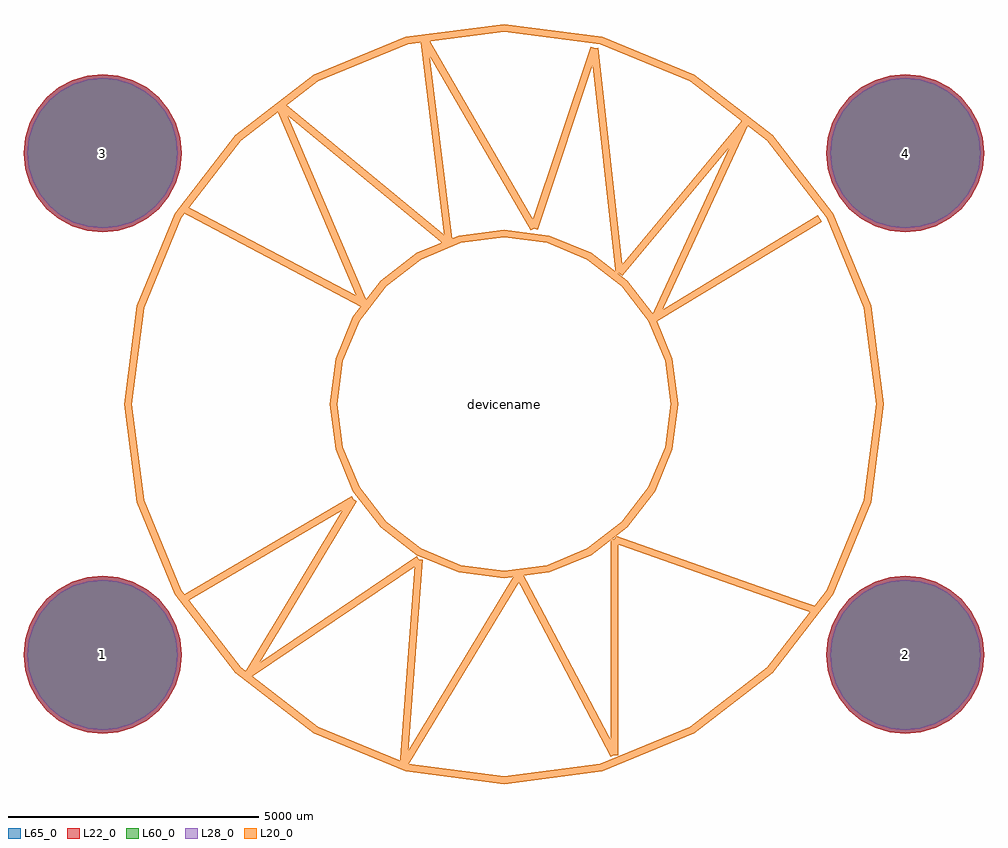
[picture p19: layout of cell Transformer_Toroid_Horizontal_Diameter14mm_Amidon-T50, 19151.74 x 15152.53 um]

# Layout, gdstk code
import gdstk
lib = gdstk.Library(unit=1e-6, precision=1e-09)
def P(c, l, *ps):  # polygons
    for p in ps: c.add(gdstk.Polygon(p, *l))
L20_0 = (20, 0)
L22_0 = (22, 0)
L28_0 = (28, 0)
L60_0 = (60, 0)
L65_0 = (65, 0)

transformer_toroid_horiz = lib.new_cell('Transformer_Toroid_Horizontal_Diameter14mm_Amidon-T50')
P(transformer_toroid_horiz, L22_0, [(9575.87,5001.26),(9545.609,5308.502),(9455.99,5603.937),(9310.457,5876.211),(9114.601,6114.861),(8875.951,6310.717),(8603.677,6456.25),(8308.242,6545.869),(8001,6576.13),(7693.758,6545.869),(7398.323,6456.25),(7126.049,6310.717),(6887.399,6114.861),(6691.543,5876.211),(6546.01,5603.937),(6456.391,5308.502),(6426.13,5001.26),(6456.391,4694.018),(6546.01,4398.583),(6691.543,4126.309),(6887.399,3887.659),(7126.049,3691.803),(7398.323,3546.27),(7693.758,3456.651),(8001,3426.39),(8308.242,3456.651),(8603.677,3546.27),(8875.951,3691.803),(9114.601,3887.659),(9310.457,4126.309),(9455.99,4398.583),(9545.609,4694.018)],
  [(-6426.13,5001.26),(-6456.391,5308.502),(-6546.01,5603.937),(-6691.543,5876.211),(-6887.399,6114.861),(-7126.049,6310.717),(-7398.323,6456.25),(-7693.758,6545.869),(-8001,6576.13),(-8308.242,6545.869),(-8603.677,6456.25),(-8875.951,6310.717),(-9114.601,6114.861),(-9310.457,5876.211),(-9455.99,5603.937),(-9545.609,5308.502),(-9575.87,5001.26),(-9545.609,4694.018),(-9455.99,4398.583),(-9310.457,4126.309),(-9114.601,3887.659),(-8875.951,3691.803),(-8603.677,3546.27),(-8308.242,3456.651),(-8001,3426.39),(-7693.758,3456.651),(-7398.323,3546.27),(-7126.049,3691.803),(-6887.399,3887.659),(-6691.543,4126.309),(-6546.01,4398.583),(-6456.391,4694.018)],
  [(9575.87,-5001.26),(9545.609,-4694.018),(9455.99,-4398.583),(9310.457,-4126.309),(9114.601,-3887.659),(8875.951,-3691.803),(8603.677,-3546.27),(8308.242,-3456.651),(8001,-3426.39),(7693.758,-3456.651),(7398.323,-3546.27),(7126.049,-3691.803),(6887.399,-3887.659),(6691.543,-4126.309),(6546.01,-4398.583),(6456.391,-4694.018),(6426.13,-5001.26),(6456.391,-5308.502),(6546.01,-5603.937),(6691.543,-5876.211),(6887.399,-6114.861),(7126.049,-6310.717),(7398.323,-6456.25),(7693.758,-6545.869),(8001,-6576.13),(8308.242,-6545.869),(8603.677,-6456.25),(8875.951,-6310.717),(9114.601,-6114.861),(9310.457,-5876.211),(9455.99,-5603.937),(9545.609,-5308.502)],
  [(-6426.13,-5001.26),(-6456.391,-4694.018),(-6546.01,-4398.583),(-6691.543,-4126.309),(-6887.399,-3887.659),(-7126.049,-3691.803),(-7398.323,-3546.27),(-7693.758,-3456.651),(-8001,-3426.39),(-8308.242,-3456.651),(-8603.677,-3546.27),(-8875.951,-3691.803),(-9114.601,-3887.659),(-9310.457,-4126.309),(-9455.99,-4398.583),(-9545.609,-4694.018),(-9575.87,-5001.26),(-9545.609,-5308.502),(-9455.99,-5603.937),(-9310.457,-5876.211),(-9114.601,-6114.861),(-8875.951,-6310.717),(-8603.677,-6456.25),(-8308.242,-6545.869),(-8001,-6576.13),(-7693.758,-6545.869),(-7398.323,-6456.25),(-7126.049,-6310.717),(-6887.399,-6114.861),(-6691.543,-5876.211),(-6546.01,-5603.937),(-6456.391,-5308.502)])
P(transformer_toroid_horiz, L28_0, [(9500.87,5001.26),(9472.05,5293.87),(9386.699,5575.235),(9248.096,5834.543),(9061.568,6061.828),(8834.283,6248.356),(8574.975,6386.959),(8293.61,6472.31),(8001,6501.13),(7708.39,6472.31),(7427.025,6386.959),(7167.717,6248.356),(6940.432,6061.828),(6753.904,5834.543),(6615.301,5575.235),(6529.95,5293.87),(6501.13,5001.26),(6529.95,4708.65),(6615.301,4427.285),(6753.904,4167.977),(6940.432,3940.692),(7167.717,3754.164),(7427.025,3615.561),(7708.39,3530.21),(8001,3501.39),(8293.61,3530.21),(8574.975,3615.561),(8834.283,3754.164),(9061.568,3940.692),(9248.096,4167.977),(9386.699,4427.285),(9472.05,4708.65)],
  [(-6501.13,5001.26),(-6529.95,5293.87),(-6615.301,5575.235),(-6753.904,5834.543),(-6940.432,6061.828),(-7167.717,6248.356),(-7427.025,6386.959),(-7708.39,6472.31),(-8001,6501.13),(-8293.61,6472.31),(-8574.975,6386.959),(-8834.283,6248.356),(-9061.568,6061.828),(-9248.096,5834.543),(-9386.699,5575.235),(-9472.05,5293.87),(-9500.87,5001.26),(-9472.05,4708.65),(-9386.699,4427.285),(-9248.096,4167.977),(-9061.568,3940.692),(-8834.283,3754.164),(-8574.975,3615.561),(-8293.61,3530.21),(-8001,3501.39),(-7708.39,3530.21),(-7427.025,3615.561),(-7167.717,3754.164),(-6940.432,3940.692),(-6753.904,4167.977),(-6615.301,4427.285),(-6529.95,4708.65)],
  [(9500.87,-5001.26),(9472.05,-4708.65),(9386.699,-4427.285),(9248.096,-4167.977),(9061.568,-3940.692),(8834.283,-3754.164),(8574.975,-3615.561),(8293.61,-3530.21),(8001,-3501.39),(7708.39,-3530.21),(7427.025,-3615.561),(7167.717,-3754.164),(6940.432,-3940.692),(6753.904,-4167.977),(6615.301,-4427.285),(6529.95,-4708.65),(6501.13,-5001.26),(6529.95,-5293.87),(6615.301,-5575.235),(6753.904,-5834.543),(6940.432,-6061.828),(7167.717,-6248.356),(7427.025,-6386.959),(7708.39,-6472.31),(8001,-6501.13),(8293.61,-6472.31),(8574.975,-6386.959),(8834.283,-6248.356),(9061.568,-6061.828),(9248.096,-5834.543),(9386.699,-5575.235),(9472.05,-5293.87)],
  [(-6501.13,-5001.26),(-6529.95,-4708.65),(-6615.301,-4427.285),(-6753.904,-4167.977),(-6940.432,-3940.692),(-7167.717,-3754.164),(-7427.025,-3615.561),(-7708.39,-3530.21),(-8001,-3501.39),(-8293.61,-3530.21),(-8574.975,-3615.561),(-8834.283,-3754.164),(-9061.568,-3940.692),(-9248.096,-4167.977),(-9386.699,-4427.285),(-9472.05,-4708.65),(-9500.87,-5001.26),(-9472.05,-5293.87),(-9386.699,-5575.235),(-9248.096,-5834.543),(-9061.568,-6061.828),(-8834.283,-6248.356),(-8574.975,-6386.959),(-8293.61,-6472.31),(-8001,-6501.13),(-7708.39,-6472.31),(-7427.025,-6386.959),(-7167.717,-6248.356),(-6940.432,-6061.828),(-6753.904,-5834.543),(-6615.301,-5575.235),(-6529.95,-5293.87)])
P(transformer_toroid_horiz, L60_0, [(9500.87,5001.26),(9472.05,5293.87),(9386.699,5575.235),(9248.096,5834.543),(9061.568,6061.828),(8834.283,6248.356),(8574.975,6386.959),(8293.61,6472.31),(8001,6501.13),(7708.39,6472.31),(7427.025,6386.959),(7167.717,6248.356),(6940.432,6061.828),(6753.904,5834.543),(6615.301,5575.235),(6529.95,5293.87),(6501.13,5001.26),(6529.95,4708.65),(6615.301,4427.285),(6753.904,4167.977),(6940.432,3940.692),(7167.717,3754.164),(7427.025,3615.561),(7708.39,3530.21),(8001,3501.39),(8293.61,3530.21),(8574.975,3615.561),(8834.283,3754.164),(9061.568,3940.692),(9248.096,4167.977),(9386.699,4427.285),(9472.05,4708.65)],
  [(-6501.13,5001.26),(-6529.95,5293.87),(-6615.301,5575.235),(-6753.904,5834.543),(-6940.432,6061.828),(-7167.717,6248.356),(-7427.025,6386.959),(-7708.39,6472.31),(-8001,6501.13),(-8293.61,6472.31),(-8574.975,6386.959),(-8834.283,6248.356),(-9061.568,6061.828),(-9248.096,5834.543),(-9386.699,5575.235),(-9472.05,5293.87),(-9500.87,5001.26),(-9472.05,4708.65),(-9386.699,4427.285),(-9248.096,4167.977),(-9061.568,3940.692),(-8834.283,3754.164),(-8574.975,3615.561),(-8293.61,3530.21),(-8001,3501.39),(-7708.39,3530.21),(-7427.025,3615.561),(-7167.717,3754.164),(-6940.432,3940.692),(-6753.904,4167.977),(-6615.301,4427.285),(-6529.95,4708.65)],
  [(9500.87,-5001.26),(9472.05,-4708.65),(9386.699,-4427.285),(9248.096,-4167.977),(9061.568,-3940.692),(8834.283,-3754.164),(8574.975,-3615.561),(8293.61,-3530.21),(8001,-3501.39),(7708.39,-3530.21),(7427.025,-3615.561),(7167.717,-3754.164),(6940.432,-3940.692),(6753.904,-4167.977),(6615.301,-4427.285),(6529.95,-4708.65),(6501.13,-5001.26),(6529.95,-5293.87),(6615.301,-5575.235),(6753.904,-5834.543),(6940.432,-6061.828),(7167.717,-6248.356),(7427.025,-6386.959),(7708.39,-6472.31),(8001,-6501.13),(8293.61,-6472.31),(8574.975,-6386.959),(8834.283,-6248.356),(9061.568,-6061.828),(9248.096,-5834.543),(9386.699,-5575.235),(9472.05,-5293.87)],
  [(-6501.13,-5001.26),(-6529.95,-4708.65),(-6615.301,-4427.285),(-6753.904,-4167.977),(-6940.432,-3940.692),(-7167.717,-3754.164),(-7427.025,-3615.561),(-7708.39,-3530.21),(-8001,-3501.39),(-8293.61,-3530.21),(-8574.975,-3615.561),(-8834.283,-3754.164),(-9061.568,-3940.692),(-9248.096,-4167.977),(-9386.699,-4427.285),(-9472.05,-4708.65),(-9500.87,-5001.26),(-9472.05,-5293.87),(-9386.699,-5575.235),(-9248.096,-5834.543),(-9061.568,-6061.828),(-8834.283,-6248.356),(-8574.975,-6386.959),(-8293.61,-6472.31),(-8001,-6501.13),(-7708.39,-6472.31),(-7427.025,-6386.959),(-7167.717,-6248.356),(-6940.432,-6061.828),(-6753.904,-5834.543),(-6615.301,-5575.235),(-6529.95,-5293.87)])
P(transformer_toroid_horiz, L65_0, [(9575.87,5001.26),(9545.609,5308.502),(9455.99,5603.937),(9310.457,5876.211),(9114.601,6114.861),(8875.951,6310.717),(8603.677,6456.25),(8308.242,6545.869),(8001,6576.13),(7693.758,6545.869),(7398.323,6456.25),(7126.049,6310.717),(6887.399,6114.861),(6691.543,5876.211),(6546.01,5603.937),(6456.391,5308.502),(6426.13,5001.26),(6456.391,4694.018),(6546.01,4398.583),(6691.543,4126.309),(6887.399,3887.659),(7126.049,3691.803),(7398.323,3546.27),(7693.758,3456.651),(8001,3426.39),(8308.242,3456.651),(8603.677,3546.27),(8875.951,3691.803),(9114.601,3887.659),(9310.457,4126.309),(9455.99,4398.583),(9545.609,4694.018)],
  [(-6426.13,5001.26),(-6456.391,5308.502),(-6546.01,5603.937),(-6691.543,5876.211),(-6887.399,6114.861),(-7126.049,6310.717),(-7398.323,6456.25),(-7693.758,6545.869),(-8001,6576.13),(-8308.242,6545.869),(-8603.677,6456.25),(-8875.951,6310.717),(-9114.601,6114.861),(-9310.457,5876.211),(-9455.99,5603.937),(-9545.609,5308.502),(-9575.87,5001.26),(-9545.609,4694.018),(-9455.99,4398.583),(-9310.457,4126.309),(-9114.601,3887.659),(-8875.951,3691.803),(-8603.677,3546.27),(-8308.242,3456.651),(-8001,3426.39),(-7693.758,3456.651),(-7398.323,3546.27),(-7126.049,3691.803),(-6887.399,3887.659),(-6691.543,4126.309),(-6546.01,4398.583),(-6456.391,4694.018)],
  [(9575.87,-5001.26),(9545.609,-4694.018),(9455.99,-4398.583),(9310.457,-4126.309),(9114.601,-3887.659),(8875.951,-3691.803),(8603.677,-3546.27),(8308.242,-3456.651),(8001,-3426.39),(7693.758,-3456.651),(7398.323,-3546.27),(7126.049,-3691.803),(6887.399,-3887.659),(6691.543,-4126.309),(6546.01,-4398.583),(6456.391,-4694.018),(6426.13,-5001.26),(6456.391,-5308.502),(6546.01,-5603.937),(6691.543,-5876.211),(6887.399,-6114.861),(7126.049,-6310.717),(7398.323,-6456.25),(7693.758,-6545.869),(8001,-6576.13),(8308.242,-6545.869),(8603.677,-6456.25),(8875.951,-6310.717),(9114.601,-6114.861),(9310.457,-5876.211),(9455.99,-5603.937),(9545.609,-5308.502)],
  [(-6426.13,-5001.26),(-6456.391,-4694.018),(-6546.01,-4398.583),(-6691.543,-4126.309),(-6887.399,-3887.659),(-7126.049,-3691.803),(-7398.323,-3546.27),(-7693.758,-3456.651),(-8001,-3426.39),(-8308.242,-3456.651),(-8603.677,-3546.27),(-8875.951,-3691.803),(-9114.601,-3887.659),(-9310.457,-4126.309),(-9455.99,-4398.583),(-9545.609,-4694.018),(-9575.87,-5001.26),(-9545.609,-5308.502),(-9455.99,-5603.937),(-9310.457,-5876.211),(-9114.601,-6114.861),(-8875.951,-6310.717),(-8603.677,-6456.25),(-8308.242,-6545.869),(-8001,-6576.13),(-7693.758,-6545.869),(-7398.323,-6456.25),(-7126.049,-6310.717),(-6887.399,-6114.861),(-6691.543,-5876.211),(-6546.01,-5603.937),(-6456.391,-5308.502)])
transformer_toroid_horiz.add(gdstk.FlexPath([(7500.62,0),(7245.043,1941.303),(6495.727,3750.31),(5303.739,5303.739),(3750.31,6495.727),(1941.303,7245.043),(0,7500.62),(-1941.303,7245.043),(-3750.31,6495.727),(-5303.739,5303.739),(-6495.727,3750.31),(-7245.043,1941.303),(-7500.62,0),(-7245.043,-1941.303),(-6495.727,-3750.31),(-5303.739,-5303.739),(-3750.31,-6495.727),(-1941.303,-7245.043),(0,-7500.62),(1941.303,-7245.043),(3750.31,-6495.727),(5303.739,-5303.739),(6495.727,-3750.31),(7245.043,-1941.303),(7500.62,0)], 149.998, ends="flush", simple_path=True, layer=20, datatype=0))  # L20_0
transformer_toroid_horiz.add(gdstk.FlexPath([(3401.06,0),(3285.172,880.259),(2945.404,1700.53),(2404.913,2404.913),(1700.53,2945.404),(880.259,3285.172),(0,3401.06),(-880.259,3285.172),(-1700.53,2945.404),(-2404.913,2404.913),(-2945.404,1700.53),(-3285.172,880.259),(-3401.06,0),(-3285.172,-880.259),(-2945.404,-1700.53),(-2404.913,-2404.913),(-1700.53,-2945.404),(-880.259,-3285.172),(0,-3401.06),(880.259,-3285.172),(1700.53,-2945.404),(2404.913,-2404.913),(2945.404,-1700.53),(3285.172,-880.259),(3401.06,0)], 149.998, ends="flush", simple_path=True, layer=20, datatype=0))  # L20_0
transformer_toroid_horiz.add(gdstk.FlexPath([(2999.74,1699.26),(6299.2,3700.78)], 149.998, ends="flush", simple_path=True, layer=20, datatype=0))  # L20_0
transformer_toroid_horiz.add(gdstk.FlexPath([(4800.6,5600.7),(2999.74,1699.26)], 149.998, ends="flush", simple_path=True, layer=20, datatype=0))  # L20_0
transformer_toroid_horiz.add(gdstk.FlexPath([(2301.24,2600.96),(4800.6,5600.7)], 149.998, ends="flush", simple_path=True, layer=20, datatype=0))  # L20_0
transformer_toroid_horiz.add(gdstk.FlexPath([(1800.86,7099.3),(2301.24,2600.96)], 149.998, ends="flush", simple_path=True, layer=20, datatype=0))  # L20_0
transformer_toroid_horiz.add(gdstk.FlexPath([(599.44,3500.12),(1800.86,7099.3)], 149.998, ends="flush", simple_path=True, layer=20, datatype=0))  # L20_0
transformer_toroid_horiz.add(gdstk.FlexPath([(-1600.2,7299.96),(599.44,3500.12)], 149.998, ends="flush", simple_path=True, layer=20, datatype=0))  # L20_0
transformer_toroid_horiz.add(gdstk.FlexPath([(-1099.82,3200.4),(-1600.2,7299.96)], 149.998, ends="flush", simple_path=True, layer=20, datatype=0))  # L20_0
transformer_toroid_horiz.add(gdstk.FlexPath([(-4500.88,5999.48),(-1099.82,3200.4)], 149.998, ends="flush", simple_path=True, layer=20, datatype=0))  # L20_0
transformer_toroid_horiz.add(gdstk.FlexPath([(-2799.08,1998.98),(-4500.88,5999.48)], 149.998, ends="flush", simple_path=True, layer=20, datatype=0))  # L20_0
transformer_toroid_horiz.add(gdstk.FlexPath([(-6400.8,3898.9),(-2799.08,1998.98)], 149.998, ends="flush", simple_path=True, layer=20, datatype=0))  # L20_0
transformer_toroid_horiz.add(gdstk.FlexPath([(5900.42,-4000.5),(6200.14,-4099.56)], 149.998, ends="flush", simple_path=True, layer=20, datatype=0))  # L20_0
transformer_toroid_horiz.add(gdstk.FlexPath([(2199.64,-2700.02),(5900.42,-4000.5)], 149.998, ends="flush", simple_path=True, layer=20, datatype=0))  # L20_0
transformer_toroid_horiz.add(gdstk.FlexPath([(2199.64,-7000.24),(2199.64,-2700.02)], 149.998, ends="flush", simple_path=True, layer=20, datatype=0))  # L20_0
transformer_toroid_horiz.add(gdstk.FlexPath([(299.72,-3401.06),(2199.64,-7000.24)], 149.998, ends="flush", simple_path=True, layer=20, datatype=0))  # L20_0
transformer_toroid_horiz.add(gdstk.FlexPath([(-1998.98,-7200.9),(299.72,-3401.06)], 149.998, ends="flush", simple_path=True, layer=20, datatype=0))  # L20_0
transformer_toroid_horiz.add(gdstk.FlexPath([(-1699.26,-3098.8),(-1998.98,-7200.9)], 149.998, ends="flush", simple_path=True, layer=20, datatype=0))  # L20_0
transformer_toroid_horiz.add(gdstk.FlexPath([(-5100.32,-5400.04),(-1699.26,-3098.8)], 149.998, ends="flush", simple_path=True, layer=20, datatype=0))  # L20_0
transformer_toroid_horiz.add(gdstk.FlexPath([(-2999.74,-1899.92),(-5100.32,-5400.04)], 149.998, ends="flush", simple_path=True, layer=20, datatype=0))  # L20_0
transformer_toroid_horiz.add(gdstk.FlexPath([(-6400.8,-3898.9),(-2999.74,-1899.92)], 149.998, ends="flush", simple_path=True, layer=20, datatype=0))  # L20_0
transformer_toroid_horiz.add(gdstk.Label('4', (8001,5001.26), layer=28, texttype=0))
transformer_toroid_horiz.add(gdstk.Label('3', (-8001,5001.26), layer=28, texttype=0))
transformer_toroid_horiz.add(gdstk.Label('2', (8001,-5001.26), layer=28, texttype=0))
transformer_toroid_horiz.add(gdstk.Label('1', (-8001,-5001.26), layer=28, texttype=0))
transformer_toroid_horiz.add(gdstk.Label('type', (0,-13970), layer=9, texttype=0))
transformer_toroid_horiz.add(gdstk.Label('devicename', (0,0), layer=9, texttype=0))

lib.write_gds('Transformer_Toroid_Horizontal_Diameter14mm_Amidon-T50.gds')
